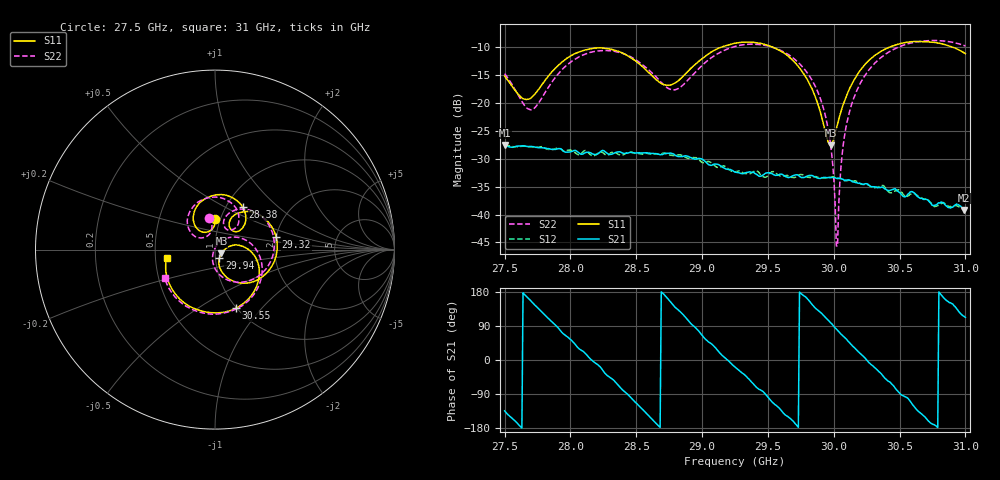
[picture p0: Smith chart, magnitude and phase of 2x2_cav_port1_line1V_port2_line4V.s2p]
!Created with skrf (http://scikit-rf.org).
# GHz S RI R 50.0
!freq ReS11 ImS11 ReS21 ImS21 ReS12 ImS12 ReS22 ImS22
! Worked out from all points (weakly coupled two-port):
!   401 points, 27.5 GHz to 31 GHz, reference 50 ohm
!   highest |S21| = -27.58 dB at 27.5 GHz (marker M1); lowest = -39.2 dB at 30.99 GHz (marker M2)
!   lowest |S11| = -27.6 dB at 29.98 GHz (marker M3), VSWR 1.09, Z = 53.7 - j2.25 ohm
!   |S11| at or under -10 dB: start of sweep to 29.15 GHz; 29.53 GHz to 30.43 GHz (900.8 MHz wide, 3 % of centre); 30.89395 GHz to end of sweep
!   |S22| runs from -45.7 to -8.9 dB; largest |S21 - S12| = 0.0028
!   S11 on the Smith chart (normalised r, x): 27.5 GHz: 0.94, +0.33; 28.38 GHz: 1.20, +0.61; 29.32 GHz: 2.00, +0.31; 29.94 GHz: 1.05, -0.10; 30.55 GHz: 0.99, -0.74; 31 GHz: 0.57, -0.06
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27.5  -0.00205 0.1728  -0.0291 -0.03  -0.0287 -0.0305  -0.0353 0.1782
27.71  -0.0591 0.0961  -0.0357 0.019  -0.0357 0.019  -0.05 0.071
28.08625  -0.0516 0.2852  0.0314 0.0146  0.0316 0.0161  -0.1276 0.2313
28.38375  0.155 0.2352  0.00947 -0.0347  0.00925 -0.0327  0.0809 0.267
28.6725  0.1166 0.0996  -0.0344 -0.00319  -0.0344 -0.00344  0.1089 0.1167
28.8125  0.079 0.1331  -0.023 0.0239  -0.0244 0.0238  0.0573 0.1196
29.25  0.3134 0.1313  0.0227 -0.00764  0.0231 -0.00697  0.2581 0.1862
29.32  0.3405 0.0692  0.0185 -0.0145  0.0179 -0.015  0.302 0.134
29.62625  0.2083 -0.1805  -0.0178 -0.0133  -0.0172 -0.0139  0.2391 -0.1497
29.83625  0.0396 -0.1262  -0.0185 0.0124  -0.0183 0.0116  0.041 -0.153
29.94125  0.0249 -0.0459  -0.00748 0.02  -0.00753 0.0199  -0.0117 -0.0715
29.97625  0.0359 -0.0209  -0.00302 0.0211  -0.00316 0.0213  -0.0136 -0.0397
30.01125  0.0536 2.1e-05  0.00208 0.0212  0.00195 0.0215  -0.00742 -0.00926
30.02875  0.064 0.00859  0.00426 0.0206  0.00422 0.0206  -0.0015 0.00499
30.0725  0.094 0.0227  0.00962 0.0182  0.0095 0.018  0.0213 0.0364
30.13375  0.1422 0.0221  0.0154 0.0128  0.0151 0.0132  0.0694 0.065
30.2475  0.2232 -0.0389  0.0189 0.000309  0.0186 0.000285  0.1753 0.051
30.4225  0.2264 -0.2166  0.00883 -0.0138  0.00779 -0.0136  0.2635 -0.1111
30.55375  0.1164 -0.3267  -0.00223 -0.0145  -0.00306 -0.0141  0.2076 -0.2614
30.7725  -0.1569 -0.3064  -0.0121 -0.00152  -0.0118 -0.00126  -0.0569 -0.3548
30.99125  -0.2719 -0.0598  -0.00461 0.00998  -0.00502 0.00978  -0.2776 -0.1674
31  -0.2698 -0.0493  -0.00422 0.0102  -0.0046 0.00996  -0.2809 -0.1562
